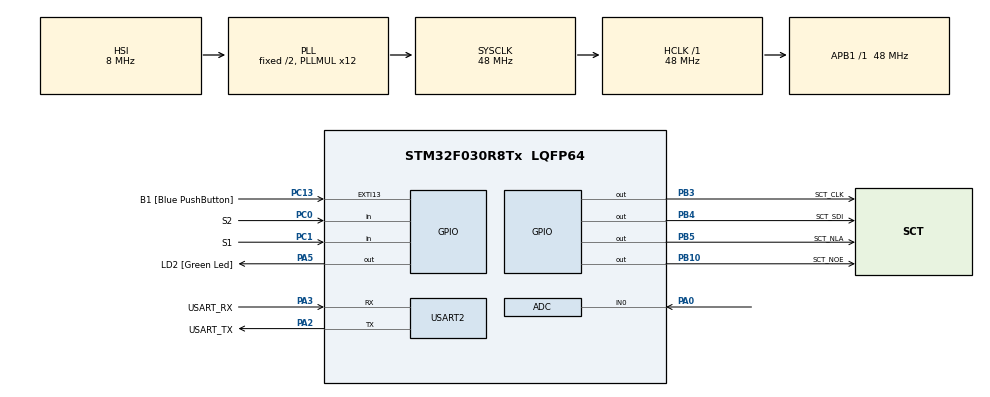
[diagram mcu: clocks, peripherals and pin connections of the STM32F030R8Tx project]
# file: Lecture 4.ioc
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ADC.ContinuousConvMode=ENABLE
ADC.Overrun=ADC_OVR_DATA_OVERWRITTEN
ADC.SamplingTime=ADC_SAMPLETIME_239CYCLES_5
Mcu.Family=STM32F0
Mcu.Name=STM32F030R8Tx
Mcu.Package=LQFP64
NVIC.ADC1_IRQn=true\:0\:0\:false\:false\:true\:true\:true\:true
PA0.Mode=IN0
PA0.Signal=ADC_IN0
PA13.GPIO_Label=TMS
PA13.Mode=Serial_Wire
PA13.Signal=SYS_SWDIO
PA14.GPIO_Label=TCK
PA14.Mode=Serial_Wire
PA14.Signal=SYS_SWCLK
PA2.GPIO_Label=USART_TX
PA2.GPIO_Mode=GPIO_MODE_AF_PP
PA2.GPIO_PuPd=GPIO_NOPULL
PA2.GPIO_Speed=GPIO_SPEED_FREQ_LOW
PA2.Mode=Asynchronous
PA2.Signal=USART2_TX
PA3.GPIO_Label=USART_RX
PA3.GPIO_Mode=GPIO_MODE_AF_PP
PA3.GPIO_PuPd=GPIO_NOPULL
PA3.GPIO_Speed=GPIO_SPEED_FREQ_LOW
PA3.Mode=Asynchronous
PA3.Signal=USART2_RX
PA5.GPIO_Label=LD2 [Green Led]
PA5.GPIO_Mode=GPIO_MODE_OUTPUT_PP
PA5.GPIO_PuPd=GPIO_NOPULL
PA5.GPIO_Speed=GPIO_SPEED_FREQ_LOW
PA5.Signal=GPIO_Output
PB10.GPIO_Label=SCT_NOE
PB10.Signal=GPIO_Output
PB3.GPIO_Label=SCT_CLK
PB3.Signal=GPIO_Output
PB4.GPIO_Label=SCT_SDI
PB4.Signal=GPIO_Output
PB5.GPIO_Label=SCT_NLA
PB5.Signal=GPIO_Output
PC0.GPIO_Label=S2
PC0.GPIO_PuPd=GPIO_PULLUP
PC0.Signal=GPIO_Input
PC1.GPIO_Label=S1
PC1.GPIO_PuPd=GPIO_PULLUP
PC1.Signal=GPIO_Input
PC13.GPIO_Label=B1 [Blue PushButton]
PC13.GPIO_ModeDefaultEXTI=GPIO_MODE_IT_FALLING
PC13.Signal=GPXTI13
PC14-OSC32_IN.Mode=LSE-External-Oscillator
PC14-OSC32_IN.Signal=RCC_OSC32_IN
PC15-OSC32_OUT.Mode=LSE-External-Oscillator
PC15-OSC32_OUT.Signal=RCC_OSC32_OUT
PF0-OSC_IN.Mode=HSE-External-Clock-Source
PF0-OSC_IN.Signal=RCC_OSC_IN
PF1-OSC_OUT.Signal=RCC_OSC_OUT
ProjectManager.HeapSize=0x200
ProjectManager.StackSize=0x400
ProjectManager.TargetToolchain=STM32CubeIDE
RCC.AHBFreq_Value=48000000
RCC.APB1Freq_Value=48000000
RCC.APB1TimFreq_Value=48000000
RCC.HCLKFreq_Value=48000000
RCC.PLLMUL=RCC_PLL_MUL12
RCC.SYSCLKFreq_VALUE=48000000
RCC.SYSCLKSource=RCC_SYSCLKSOURCE_PLLCLK
USART2.VirtualMode-Asynchronous=VM_ASYNC
VP_ADC_TempSens_Input.Mode=IN-TempSens
VP_ADC_Vref_Input.Mode=IN-Vrefint
board=NUCLEO-F030R8

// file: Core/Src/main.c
/* USER CODE BEGIN Header */
/**
  ******************************************************************************
  * @file           : main.c
  * @brief          : Main program body
  ******************************************************************************
  * @attention
  *
  * Copyright (c) 2024 STMicroelectronics.
  * All rights reserved.
  *
  * This software is licensed under terms that can be found in the LICENSE file
  * in the root directory of this software component.
  * If no LICENSE file comes with this software, it is provided AS-IS.
  *
  ******************************************************************************
  */
/* USER CODE END Header */
#include "main.h"

/* USER CODE BEGIN Includes */
#include "sct.h"
/* USER CODE END Includes */

/* USER CODE BEGIN PD */

#define ADC_Q 12
#define TEMP110_CAL_ADDR ((uint16_t*) ((uint32_t) 0x1FFFF7C2))
#define TEMP30_CAL_ADDR ((uint16_t*) ((uint32_t) 0x1FFFF7B8))
#define VREFINT_CAL_ADDR ((uint16_t*) ((uint32_t) 0x1FFFF7BA))

/* USER CODE END PD */

ADC_HandleTypeDef hadc;

UART_HandleTypeDef huart2;

/* USER CODE BEGIN PV */

static volatile uint32_t raw_pot, raw_temp, raw_volt;
static volatile uint32_t voltage;
static volatile int32_t temperature;
volatile uint32_t button_tick;
static uint32_t off_time;
static enum { SHOW_POT, SHOW_VOLT, SHOW_TEMP } state = SHOW_POT;

/* USER CODE END PV */

void SystemClock_Config(void);
static void MX_GPIO_Init(void);
static void MX_USART2_UART_Init(void);
static void MX_ADC_Init(void);

/* USER CODE BEGIN 0 */

void HAL_ADC_ConvCpltCallback(ADC_HandleTypeDef *hadc) {
	static uint32_t avg_pot, channel;

	//raw_pot = HAL_ADC_GetValue(hadc);
	if (channel == 0){
		raw_pot = avg_pot >> ADC_Q;
		avg_pot -= raw_pot;
		avg_pot += HAL_ADC_GetValue(hadc);

	} else if (channel == 1) {
		raw_temp = HAL_ADC_GetValue(hadc);
		temperature = (raw_temp - (int32_t)(*TEMP30_CAL_ADDR));
		temperature = temperature * (int32_t)(110 - 30);
		temperature = temperature / (int32_t)(*TEMP110_CAL_ADDR - *TEMP30_CAL_ADDR);
		temperature = temperature + 30;

	} else if (channel == 2) {
		raw_volt = HAL_ADC_GetValue(hadc);
		voltage = 330 * (*VREFINT_CAL_ADDR) / raw_volt;
	}

	if(__HAL_ADC_GET_FLAG(hadc, ADC_FLAG_EOS)) {
		channel = 0;

	} else {
		channel++;
	}

}

static void button1() {

		if(HAL_GPIO_ReadPin(S2_GPIO_Port, S2_Pin) == 1) {

			 state = SHOW_TEMP;
			 button_tick = HAL_GetTick();

		}

}

static void button2() {

		if(HAL_GPIO_ReadPin(S1_GPIO_Port, S1_Pin) == 1) {

			 state = SHOW_VOLT;
			 button_tick = HAL_GetTick();

		}

}
/* USER CODE END 0 */

int main(void)
{

  /* MCU Configuration--------------------------------------------------------*/

  /* Reset of all peripherals, Initializes the Flash interface and the Systick. */
  HAL_Init();

  /* Configure the system clock */
  SystemClock_Config();

  /* Initialize all configured peripherals */
  MX_GPIO_Init();
  MX_USART2_UART_Init();
  MX_ADC_Init();
  /* USER CODE BEGIN 2 */
  sct_init();
  HAL_ADCEx_Calibration_Start(&hadc);
  HAL_ADC_Start_IT(&hadc);

  /* USER CODE END 2 */

  /* Infinite loop */
  /* USER CODE BEGIN WHILE */
  while (1)
  {
	  uint32_t old_tick = 0;
	  uint32_t current_tick = HAL_GetTick();

	  if (state == SHOW_POT) {

		  sct_value(501*raw_pot/4095, 9*raw_pot/4095);
		  HAL_Delay(1000);

	  } else if (state == SHOW_TEMP) {

		  sct_value(temperature, 0);
		  if (current_tick - button_tick > 1000) {
		              state = SHOW_POT;
		          }
		  //HAL_Delay(1000);
		  //state = SHOW_POT;

	  } else if (state == SHOW_VOLT) {

		  sct_value(voltage, 0);
		  if (current_tick - button_tick > 1000) {
		              state = SHOW_POT;
		          }
		  //HAL_Delay(1000);
		  //state == SHOW_POT;
	  }

	  button1();
	  button2();

    /* USER CODE END WHILE */

  }
}

void SystemClock_Config(void)
{
  RCC_OscInitTypeDef RCC_OscInitStruct = {0};
  RCC_ClkInitTypeDef RCC_ClkInitStruct = {0};

  /** Initializes the RCC Oscillators according to the specified parameters
  * in the RCC_OscInitTypeDef structure.
  */
  RCC_OscInitStruct.OscillatorType = RCC_OSCILLATORTYPE_HSI|RCC_OSCILLATORTYPE_HSI14;
  RCC_OscInitStruct.HSIState = RCC_HSI_ON;
  RCC_OscInitStruct.HSI14State = RCC_HSI14_ON;
  RCC_OscInitStruct.HSICalibrationValue = RCC_HSICALIBRATION_DEFAULT;
  RCC_OscInitStruct.HSI14CalibrationValue = 16;
  RCC_OscInitStruct.PLL.PLLState = RCC_PLL_ON;
  RCC_OscInitStruct.PLL.PLLSource = RCC_PLLSOURCE_HSI;
  RCC_OscInitStruct.PLL.PLLMUL = RCC_PLL_MUL12;
  RCC_OscInitStruct.PLL.PREDIV = RCC_PREDIV_DIV1;
  if (HAL_RCC_OscConfig(&RCC_OscInitStruct) != HAL_OK)
  {
    Error_Handler();
  }

  /** Initializes the CPU, AHB and APB buses clocks
  */
  RCC_ClkInitStruct.ClockType = RCC_CLOCKTYPE_HCLK|RCC_CLOCKTYPE_SYSCLK
                              |RCC_CLOCKTYPE_PCLK1;
  RCC_ClkInitStruct.SYSCLKSource = RCC_SYSCLKSOURCE_PLLCLK;
  RCC_ClkInitStruct.AHBCLKDivider = RCC_SYSCLK_DIV1;
  RCC_ClkInitStruct.APB1CLKDivider = RCC_HCLK_DIV1;

  if (HAL_RCC_ClockConfig(&RCC_ClkInitStruct, FLASH_LATENCY_1) != HAL_OK)
  {
    Error_Handler();
  }
}

static void MX_ADC_Init(void)
{

  ADC_ChannelConfTypeDef sConfig = {0};

  /** Configure the global features of the ADC (Clock, Resolution, Data Alignment and number of conversion)
  */
  hadc.Instance = ADC1;
  hadc.Init.ClockPrescaler = ADC_CLOCK_ASYNC_DIV1;
  hadc.Init.Resolution = ADC_RESOLUTION_12B;
  hadc.Init.DataAlign = ADC_DATAALIGN_RIGHT;
  hadc.Init.ScanConvMode = ADC_SCAN_DIRECTION_FORWARD;
  hadc.Init.EOCSelection = ADC_EOC_SINGLE_CONV;
  hadc.Init.LowPowerAutoWait = DISABLE;
  hadc.Init.LowPowerAutoPowerOff = DISABLE;
  hadc.Init.ContinuousConvMode = ENABLE;
  hadc.Init.DiscontinuousConvMode = DISABLE;
  hadc.Init.ExternalTrigConv = ADC_SOFTWARE_START;
  hadc.Init.ExternalTrigConvEdge = ADC_EXTERNALTRIGCONVEDGE_NONE;
  hadc.Init.DMAContinuousRequests = DISABLE;
  hadc.Init.Overrun = ADC_OVR_DATA_OVERWRITTEN;
  if (HAL_ADC_Init(&hadc) != HAL_OK)
  {
    Error_Handler();
  }

  /** Configure for the selected ADC regular channel to be converted.
  */
  sConfig.Channel = ADC_CHANNEL_0;
  sConfig.Rank = ADC_RANK_CHANNEL_NUMBER;
  sConfig.SamplingTime = ADC_SAMPLETIME_239CYCLES_5;
  if (HAL_ADC_ConfigChannel(&hadc, &sConfig) != HAL_OK)
  {
    Error_Handler();
  }

  /** Configure for the selected ADC regular channel to be converted.
  */
  sConfig.Channel = ADC_CHANNEL_TEMPSENSOR;
  if (HAL_ADC_ConfigChannel(&hadc, &sConfig) != HAL_OK)
  {
    Error_Handler();
  }

  /** Configure for the selected ADC regular channel to be converted.
  */
  sConfig.Channel = ADC_CHANNEL_VREFINT;
  if (HAL_ADC_ConfigChannel(&hadc, &sConfig) != HAL_OK)
  {
    Error_Handler();
  }

}

static void MX_USART2_UART_Init(void)
{

  huart2.Instance = USART2;
  huart2.Init.BaudRate = 38400;
  huart2.Init.WordLength = UART_WORDLENGTH_8B;
  huart2.Init.StopBits = UART_STOPBITS_1;
  huart2.Init.Parity = UART_PARITY_NONE;
  huart2.Init.Mode = UART_MODE_TX_RX;
  huart2.Init.HwFlowCtl = UART_HWCONTROL_NONE;
  huart2.Init.OverSampling = UART_OVERSAMPLING_16;
  huart2.Init.OneBitSampling = UART_ONE_BIT_SAMPLE_DISABLE;
  huart2.AdvancedInit.AdvFeatureInit = UART_ADVFEATURE_NO_INIT;
  if (HAL_UART_Init(&huart2) != HAL_OK)
  {
    Error_Handler();
  }

}

static void MX_GPIO_Init(void)
{
  GPIO_InitTypeDef GPIO_InitStruct = {0};

  /* GPIO Ports Clock Enable */
  __HAL_RCC_GPIOC_CLK_ENABLE();
  __HAL_RCC_GPIOF_CLK_ENABLE();
  __HAL_RCC_GPIOA_CLK_ENABLE();
  __HAL_RCC_GPIOB_CLK_ENABLE();

  /*Configure GPIO pin Output Level */
  HAL_GPIO_WritePin(LD2_GPIO_Port, LD2_Pin, GPIO_PIN_RESET);

  /*Configure GPIO pin Output Level */
  HAL_GPIO_WritePin(GPIOB, SCT_NOE_Pin|SCT_CLK_Pin|SCT_SDI_Pin|SCT_NLA_Pin, GPIO_PIN_RESET);

  /*Configure GPIO pin : B1_Pin */
  GPIO_InitStruct.Pin = B1_Pin;
  GPIO_InitStruct.Mode = GPIO_MODE_IT_FALLING;
  GPIO_InitStruct.Pull = GPIO_NOPULL;
  HAL_GPIO_Init(B1_GPIO_Port, &GPIO_InitStruct);

  /*Configure GPIO pins : S2_Pin S1_Pin */
  GPIO_InitStruct.Pin = S2_Pin|S1_Pin;
  GPIO_InitStruct.Mode = GPIO_MODE_INPUT;
  GPIO_InitStruct.Pull = GPIO_PULLUP;
  HAL_GPIO_Init(GPIOC, &GPIO_InitStruct);

  /*Configure GPIO pin : LD2_Pin */
  GPIO_InitStruct.Pin = LD2_Pin;
  GPIO_InitStruct.Mode = GPIO_MODE_OUTPUT_PP;
  GPIO_InitStruct.Pull = GPIO_NOPULL;
  GPIO_InitStruct.Speed = GPIO_SPEED_FREQ_LOW;
  HAL_GPIO_Init(LD2_GPIO_Port, &GPIO_InitStruct);

  /*Configure GPIO pins : SCT_NOE_Pin SCT_CLK_Pin SCT_SDI_Pin SCT_NLA_Pin */
  GPIO_InitStruct.Pin = SCT_NOE_Pin|SCT_CLK_Pin|SCT_SDI_Pin|SCT_NLA_Pin;
  GPIO_InitStruct.Mode = GPIO_MODE_OUTPUT_PP;
  GPIO_InitStruct.Pull = GPIO_NOPULL;
  GPIO_InitStruct.Speed = GPIO_SPEED_FREQ_LOW;
  HAL_GPIO_Init(GPIOB, &GPIO_InitStruct);

}

void Error_Handler(void)
{
  __disable_irq();
  while (1)
  {
  }
}
